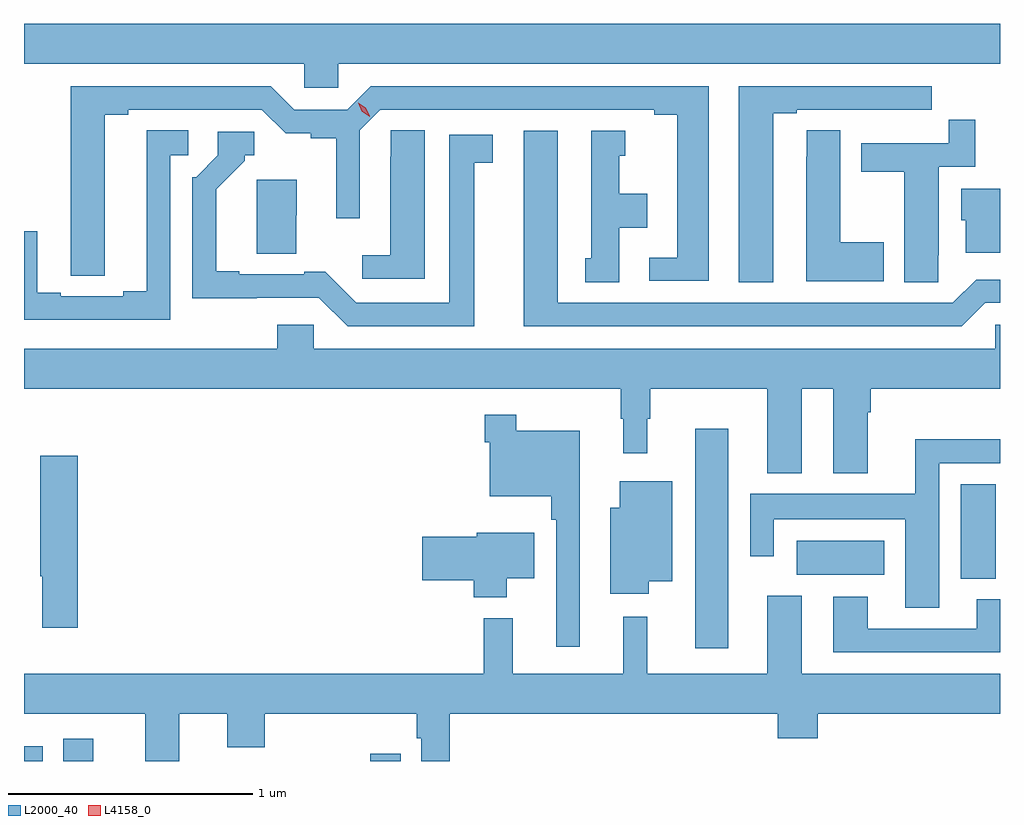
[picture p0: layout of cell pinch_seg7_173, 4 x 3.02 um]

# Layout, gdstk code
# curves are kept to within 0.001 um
import gdstk
lib = gdstk.Library(unit=1e-6, precision=1e-09)
def R(c, l, rs):  # rectangles x0, y0, x1, y1
    for r in rs: c.add(gdstk.rectangle(r[:2], r[2:], *l))
def P(c, l, *ps):  # polygons
    for p in ps: c.add(gdstk.Polygon(p, *l))
L2000_40 = (2000, 40)
L4158_0 = (4158, 0)

pinch_seg7_173 = lib.new_cell('pinch_seg7_173')
R(pinch_seg7_173, L2000_40, [(1130.31,1008.414,1130.386,1008.475), (1130.471,1008.414,1130.593,1008.505), (1131.729,1008.414,1131.854,1008.445), (1133.06,1008.876,1133.197,1009.777), (1134.149,1009.162,1134.292,1009.55), (1133.478,1009.178,1133.836,1009.318)])
P(pinch_seg7_173, L2000_40, [(1131.597,1011.272),(1134.31,1011.272),(1134.31,1011.436),(1130.31,1011.436),(1130.31,1011.272),(1131.459,1011.272),(1131.459,1011.174),(1131.597,1011.174)],
  [(1133.38,1011.069),(1133.476,1011.069),(1133.476,1011.084),(1133.752,1011.084),(1133.752,1011.083),(1133.918,1011.083),(1133.918,1011.084),(1134.031,1011.084),(1134.031,1011.18),(1133.24,1011.18),(1133.24,1010.377),(1133.38,1010.377)],
  [(1133.116,1011.18),(1131.731,1011.18),(1131.635,1011.084),(1131.417,1011.084),(1131.321,1011.18),(1130.501,1011.18),(1130.502,1010.404),(1130.641,1010.404),(1130.641,1011.064),(1130.737,1011.064),(1130.737,1011.084),(1131.285,1011.084),(1131.383,1010.987),(1131.486,1010.987),(1131.486,1010.968),(1131.59,1010.968),(1131.59,1010.64),(1131.687,1010.64),(1131.687,1011),(1131.771,1011.084),(1132.892,1011.084),(1132.892,1011.064),(1132.988,1011.064),(1132.988,1010.478),(1132.872,1010.478),(1132.872,1010.382),(1133.116,1010.382)],
  [(1134.057,1010.488),(1134.058,1010.488),(1134.058,1010.85),(1134.209,1010.85),(1134.209,1011.043),(1134.1,1011.043),(1134.1,1010.946),(1133.741,1010.946),(1133.741,1010.83),(1133.918,1010.83),(1133.918,1010.377),(1134.057,1010.377)],
  [(1133.833,1010.541),(1133.656,1010.541),(1133.656,1010.999),(1133.517,1010.999),(1133.517,1010.891),(1133.516,1010.891),(1133.516,1010.381),(1133.833,1010.381)],
  [(1131.952,1010.999),(1131.813,1010.999),(1131.813,1010.891),(1131.812,1010.891),(1131.812,1010.488),(1131.696,1010.488),(1131.696,1010.391),(1131.952,1010.391)],
  [(1130.91,1010.898),(1130.983,1010.898),(1130.983,1010.999),(1130.813,1010.999),(1130.813,1010.339),(1130.717,1010.339),(1130.717,1010.319),(1130.461,1010.319),(1130.461,1010.334),(1130.365,1010.334),(1130.365,1010.585),(1130.31,1010.585),(1130.31,1010.223),(1130.91,1010.223)],
  [(1132.75,1010.6),(1132.864,1010.6),(1132.864,1010.74),(1132.75,1010.74),(1132.75,1010.895),(1132.774,1010.895),(1132.774,1010.998),(1132.634,1010.998),(1132.634,1010.475),(1132.61,1010.475),(1132.61,1010.377),(1132.75,1010.377)],
  [(1134.249,1010.292),(1134.31,1010.292),(1134.31,1010.388),(1134.213,1010.388),(1134.117,1010.292),(1132.498,1010.292),(1132.498,1010.998),(1132.358,1010.998),(1132.358,1010.196),(1134.153,1010.196)],
  [(1132.156,1010.866),(1132.231,1010.866),(1132.231,1010.982),(1132.052,1010.982),(1132.052,1010.292),(1131.672,1010.292),(1131.544,1010.42),(1131.458,1010.42),(1131.458,1010.409),(1131.193,1010.409),(1131.193,1010.422),(1131.097,1010.422),(1131.097,1010.758),(1131.214,1010.875),(1131.214,1010.898),(1131.253,1010.898),(1131.253,1010.994),(1131.105,1010.994),(1131.105,1010.898),(1131.015,1010.808),(1131,1010.808),(1131,1010.312),(1131.519,1010.313),(1131.636,1010.196),(1132.156,1010.196)],
  [(1131.426,1010.652),(1131.427,1010.652),(1131.427,1010.797),(1131.263,1010.797),(1131.263,1010.494),(1131.426,1010.494)],
  [(1134.31,1010.761),(1134.152,1010.761),(1134.152,1010.631),(1134.17,1010.631),(1134.17,1010.498),(1134.31,1010.498)],
  [(1133.497,1009.94),(1133.627,1009.94),(1133.627,1009.595),(1133.767,1009.595),(1133.767,1009.844),(1133.78,1009.844),(1133.78,1009.94),(1134.31,1009.94),(1134.31,1010.202),(1134.291,1010.202),(1134.291,1010.104),(1131.498,1010.104),(1131.498,1010.202),(1131.347,1010.202),(1131.347,1010.104),(1130.31,1010.104),(1130.31,1009.94),(1132.755,1009.94),(1132.755,1009.817),(1132.766,1009.817),(1132.766,1009.677),(1132.865,1009.677),(1132.865,1009.817),(1132.876,1009.817),(1132.876,1009.94),(1133.357,1009.94),(1133.357,1009.595),(1133.497,1009.595)],
  [(1132.587,1009.503),(1132.588,1009.503),(1132.588,1009.768),(1132.327,1009.768),(1132.327,1009.834),(1132.198,1009.834),(1132.198,1009.721),(1132.218,1009.721),(1132.218,1009.499),(1132.471,1009.499),(1132.471,1009.403),(1132.491,1009.403),(1132.491,1008.882),(1132.587,1008.882)],
  [(1134.061,1009.635),(1134.31,1009.635),(1134.31,1009.733),(1133.963,1009.733),(1133.963,1009.51),(1133.286,1009.51),(1133.286,1009.254),(1133.382,1009.254),(1133.382,1009.406),(1133.921,1009.406),(1133.921,1009.042),(1134.061,1009.042)],
  [(1130.531,1009.666),(1130.377,1009.666),(1130.377,1009.172),(1130.384,1009.172),(1130.384,1008.96),(1130.531,1008.96)],
  [(1132.87,1009.151),(1132.966,1009.151),(1132.966,1009.561),(1132.751,1009.561),(1132.751,1009.453),(1132.712,1009.453),(1132.712,1009.101),(1132.87,1009.101)],
  [(1132.288,1009.163),(1132.402,1009.163),(1132.402,1009.351),(1132.166,1009.351),(1132.166,1009.334),(1131.942,1009.334),(1131.942,1009.156),(1132.154,1009.156),(1132.154,1009.085),(1132.288,1009.085)],
  [(1130.947,1008.608),(1131.143,1008.608),(1131.143,1008.472),(1131.296,1008.472),(1131.296,1008.608),(1131.919,1008.608),(1131.919,1008.507),(1131.939,1008.507),(1131.939,1008.414),(1132.055,1008.414),(1132.055,1008.608),(1133.399,1008.608),(1133.399,1008.509),(1133.564,1008.509),(1133.564,1008.608),(1134.31,1008.608),(1134.31,1008.772),(1133.497,1008.772),(1133.497,1009.093),(1133.357,1009.093),(1133.357,1008.772),(1132.865,1008.772),(1132.865,1009.006),(1132.766,1009.006),(1132.766,1008.772),(1132.313,1008.772),(1132.313,1009),(1132.195,1009),(1132.195,1008.772),(1130.31,1008.772),(1130.31,1008.608),(1130.807,1008.608),(1130.807,1008.414),(1130.947,1008.414)],
  [(1134.31,1009.077),(1134.215,1009.077),(1134.215,1008.957),(1133.767,1008.957),(1133.767,1009.087),(1133.627,1009.087),(1133.627,1008.861),(1134.31,1008.861)])
P(pinch_seg7_173, L4158_0, [(1131.726,1011.056),(1131.695,1011.078),(1131.679,1011.112),(1131.679,1011.112),(1131.68,1011.112),(1131.71,1011.091),(1131.726,1011.057),(1131.726,1011.056)])

lib.write_gds('pinch_seg7_173.gds')
